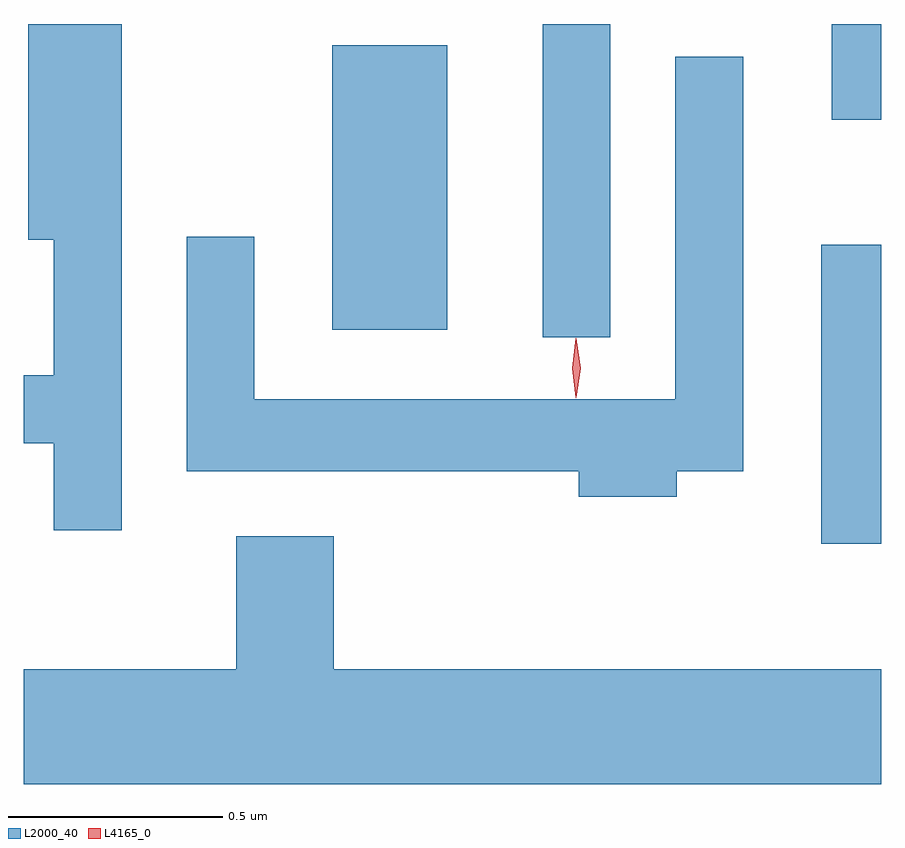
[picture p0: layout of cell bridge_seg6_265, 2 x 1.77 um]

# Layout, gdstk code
import gdstk
lib = gdstk.Library(unit=1e-6, precision=1e-09)
def R(c, l, rs):  # rectangles x0, y0, x1, y1
    for r in rs: c.add(gdstk.rectangle(r[:2], r[2:], *l))
def P(c, l, *ps):  # polygons
    for p in ps: c.add(gdstk.Polygon(p, *l))
L2000_40 = (2000, 40)
L4165_0 = (4165, 0)

bridge_seg6_265 = lib.new_cell('bridge_seg6_265')
R(bridge_seg6_265, L2000_40, [(1227.616,1583.896,1227.756,1584.594), (1226.966,1584.378,1227.124,1585.109), (1226.476,1584.396,1226.744,1585.059), (1227.641,1584.886,1227.756,1585.109)])
P(bridge_seg6_265, L2000_40, [(1225.984,1585.109),(1225.766,1585.109),(1225.766,1584.606),(1225.826,1584.606),(1225.826,1584.289),(1225.756,1584.289),(1225.756,1584.131),(1225.826,1584.131),(1225.826,1583.928),(1225.984,1583.928)],
  [(1227.279,1584.066),(1227.434,1584.066),(1227.434,1585.033),(1227.276,1585.033),(1227.276,1584.234),(1226.294,1584.234),(1226.294,1584.613),(1226.136,1584.613),(1226.136,1584.066),(1227.051,1584.066),(1227.051,1584.006),(1227.279,1584.006)],
  [(1227.756,1583.604),(1226.479,1583.604),(1226.479,1583.914),(1226.251,1583.914),(1226.251,1583.604),(1225.756,1583.604),(1225.756,1583.336),(1227.756,1583.336)])
P(bridge_seg6_265, L4165_0, [(1227.044,1584.237),(1227.035,1584.306),(1227.044,1584.376),(1227.045,1584.376),(1227.045,1584.376),(1227.055,1584.306),(1227.045,1584.237),(1227.045,1584.237)],
  [(1227.045,1584.239),(1227.044,1584.24),(1227.035,1584.306),(1227.044,1584.372),(1227.045,1584.373),(1227.045,1584.372),(1227.055,1584.306),(1227.045,1584.24)])

lib.write_gds('bridge_seg6_265.gds')
